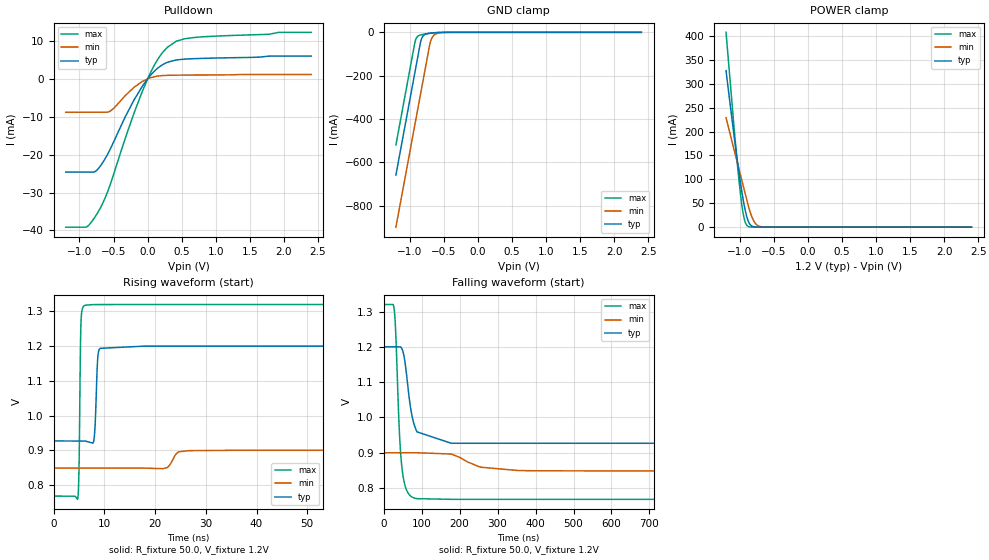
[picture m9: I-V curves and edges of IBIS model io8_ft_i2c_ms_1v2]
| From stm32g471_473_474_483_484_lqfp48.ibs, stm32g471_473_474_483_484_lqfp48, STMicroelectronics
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[Model]   io8_ft_i2c_ms_1v2
Model_type I/O_open_drain
Polarity   Non-Inverting
Enable   Active-Low
| CAP_THRESHOLD on pad IOFT is "UDTCAPC" :
| Rising=30.0% of vddiom   Falling=70.0% of vddiom
| C_comp min and max val. don't necessarily correlate with the min and max pvt
| but are the smallest and greatest pad capacitance found.
| var   typ   min   max
C_comp   2.04020pF  1.89085pF  2.07595pF
|C_comp_pulldown   2.04020pF  1.89085pF  2.07595pF
Vinl = 450.0mV
Vinh = 660.0mV
Vmeas = 600.0mV   | Reference voltage for timing measurements
Cref  = 50.0pF   | Timing specification test load capacitance value
Rref  = 1.0MOhm   | Timing specification test load resistance value
Vref  = 660.0mV   | Timing specification test load voltage
[Model Spec]
| TIME_THRESHOLD on pin ZIV12 is "CMOS" :
| Rising=50.0% of vdd   Falling=50.0% of vdd
Vinl 458.70000mV 361.70000mV 499.70000mV
Vinh 728.30000mV 549.30000mV 792.30000mV
| variable   typ   min   max
[Temperature Range] 25.0 125.0 -40.0
| variable   typ   min   max
[Voltage Range] 1.2V 900.0mV 1.32V
| variable   typ   min   max
[POWER Clamp Reference] 1.2V 900.0mV 1.32V
| variable   typ   min   max
[GND Clamp Reference] 0V 0V 0V
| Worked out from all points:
|   slope of the pulldown table from 0 to 0.18 V, typ, clamps not added: 55.2 ohm
|   GND clamp passes 1 mA (typ) near -0.58 V on its own axis
|   POWER clamp passes 1 mA (typ) near -0.80 V on its own axis
|   rising waveform, R_fixture 50.0, V_fixture 1.2V: 20-80 % time 408ps typ, 1.23ns min, 265ps max; typ from 0.927 V to 1.2 V
|   falling waveform, R_fixture 50.0, V_fixture 1.2V: 20-80 % time 22.3ns typ, 64ns min, 13.3ns max; typ from 1.2 V to 0.927 V
[POWER Clamp]
-1.2V     327.4mA    228.8mA    407.7mA
-1.07V    177.7mA    155.3mA    188.5mA
-1.03V    134.8mA    132.7mA    126.3mA
-990mV    94.58mA    110.1mA    71.25mA
-960mV    67.13mA    93.17mA    38.08mA
-940mV    50.68mA    81.87mA    21.78mA
-910mV    29.83mA    64.92mA    7.377mA
-880mV    14.86mA    48.18mA    2.007mA
-840mV    4.466mA    28.96mA    309.8uA
-780mV    528.8uA    9.884mA    17.79uA
-670mV    8.746uA    604.9uA    93.25nA
2.4V      0A         0A         0A
[GND Clamp]
-1.2V     -658.2mA   -898.9mA   -519.3mA
-930mV    -199.2mA   -439.9mA   -60.33mA
-910mV    -165.2mA   -405.9mA   -33.58mA
-880mV    -114.2mA   -354.9mA   -18.36mA
-840mV    -46.85mA   -286.9mA   -12.24mA
-820mV    -26.85mA   -252.9mA   -10.71mA
-780mV    -11.1mA    -184.9mA   -8.327mA
-700mV    -4.004mA   -51.26mA   -4.515mA
-670mV    -2.946mA   -24.79mA   -3.345mA
-640mV    -2.117mA   -12.56mA   -2.341mA
-440mV    -36.45uA   -184.8uA   -16.55uA
2.4V      304.1pA    36.47nA    206.9pA
| variable   typ   min   max
[Pullup Reference] 1.2V 900.0mV 1.32V
| variable   typ   min   max
[Pulldown Reference] 0V 0V 0V
[Pulldown]
-1.2V     -24.6mA    -8.807mA   -39.12mA
-890mV    -24.6mA    -8.807mA   -39.02mA
-780mV    -24.54mA   -8.807mA   -36.66mA
-710mV    -23.4mA    -8.807mA   -34.61mA
-530mV    -17.87mA   -8.266mA   -26.91mA
-330mV    -10.09mA   -4.455mA   -15.79mA
-80mV     -2.02mA    -710uA     -3.413mA
110mV     2.211mA    605.8uA    3.97mA
290mV     4.374mA    930.4uA    8.331mA
420mV     4.991mA    971.4uA    9.931mA
670mV     5.322mA    1.008mA    10.89mA
2.4V      6mA        1.156mA    12.28mA
[Ramp]
dV/dt_r 163.89097mV/406.08321ps 30.80918mV/1.22552ns 331.17988mV/262.7611ps
dV/dt_f 163.89646mV/22.24451ns 30.81924mV/62.60941ns 331.18349mV/13.34315ns
R_load = 50.0
| Removed startup time: 0s 0s 0s  .
| Removed end time: 79.75ns.
[Rising Waveform]
R_fixture   = 50.0
V_fixture   = 1.2V
V_fixture_min = 900.0mV
V_fixture_max = 1.32V
0s        926.8mV    848.6mV    768mV
4.8ns     926.6mV    848.6mV    762.1mV
5.05ns    926.6mV    848.6mV    873.8mV
5.3ns     926.6mV    848.6mV    1.193V
5.4ns     926.6mV    848.6mV    1.263V
6.1ns     926.7mV    848.6mV    1.317V
7.95ns    929.1mV    848.6mV    1.32V
8.7ns     1.163V     848.6mV    1.32V
9.2ns     1.194V     848.6mV    1.32V
79.75ns   1.2V       900mV      1.32V
| Removed startup time: 0s 0s 0s  .
| Removed end time: 1.59975us.
[Falling Waveform]
R_fixture   = 50.0
V_fixture   = 1.2V
V_fixture_min = 900.0mV
V_fixture_max = 1.32V
0s        1.2V       900mV      1.32V
27.25ns   1.2V       900mV      1.31V
32ns      1.2V       900mV      1.234V
42ns      1.2V       900mV      947.4mV
47.5ns    1.196V     900mV      864.5mV
60.75ns   1.117V     900mV      793.2mV
82.5ns    972.7mV    900mV      771.1mV
177.8ns   927mV      896.4mV    768mV
355.5ns   926.8mV    849.6mV    768mV
1.6us     926.8mV    848.6mV    768mV
